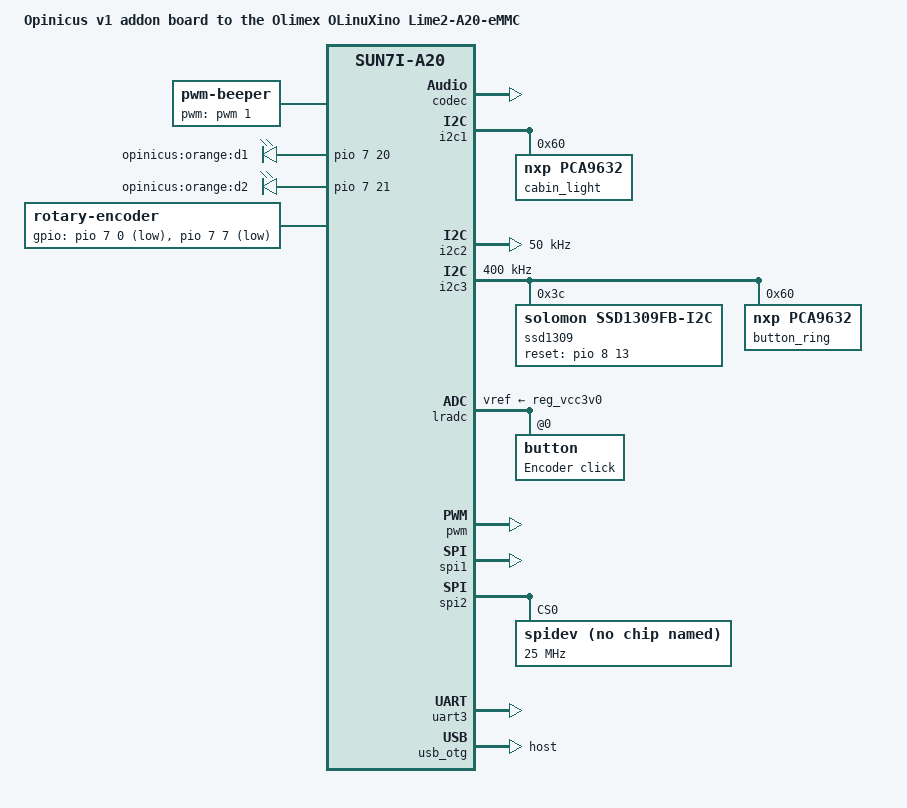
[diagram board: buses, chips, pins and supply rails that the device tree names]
/*
 * Copyright 2015 - Ultimaker B.V.
 * Author Olliver Schinagl <o.schinagl@ultimaker.com>
 *
 * This file is dual-licensed: you can use it either under the terms
 * of the GPL or the X11 license, at your option. Note that this dual
 * licensing only applies to this file, and not this project as a
 * whole.
 *
 *  a) This file is free software; you can redistribute it and/or
 *     modify it under the terms of the GNU General Public License as
 *     published by the Free Software Foundation; either version 2 of the
 *     License, or (at your option) any later version.
 *
 *     This file is distributed in the hope that it will be useful,
 *     but WITHOUT ANY WARRANTY; without even the implied warranty of
 *     MERCHANTABILITY or FITNESS FOR A PARTICULAR PURPOSE.  See the
 *     GNU General Public License for more details.
 *
 * Or, alternatively,
 *
 *  b) Permission is hereby granted, free of charge, to any person
 *     obtaining a copy of this software and associated documentation
 *     files (the "Software"), to deal in the Software without
 *     restriction, including without limitation the rights to use,
 *     copy, modify, merge, publish, distribute, sublicense, and/or
 *     sell copies of the Software, and to permit persons to whom the
 *     Software is furnished to do so, subject to the following
 *     conditions:
 *
 *     The above copyright notice and this permission notice shall be
 *     included in all copies or substantial portions of the Software.
 *
 *     THE SOFTWARE IS PROVIDED "AS IS", WITHOUT WARRANTY OF ANY KIND,
 *     EXPRESS OR IMPLIED, INCLUDING BUT NOT LIMITED TO THE WARRANTIES
 *     OF MERCHANTABILITY, FITNESS FOR A PARTICULAR PURPOSE AND
 *     NONINFRINGEMENT. IN NO EVENT SHALL THE AUTHORS OR COPYRIGHT
 *     HOLDERS BE LIABLE FOR ANY CLAIM, DAMAGES OR OTHER LIABILITY,
 *     WHETHER IN AN ACTION OF CONTRACT, TORT OR OTHERWISE, ARISING
 *     FROM, OUT OF OR IN CONNECTION WITH THE SOFTWARE OR THE USE OR
 *     OTHER DEALINGS IN THE SOFTWARE.
 */

#include "sun7i-a20-olinuxino-lime2-emmc.dts"

#include <dt-bindings/gpio/gpio.h>
#include <dt-bindings/input/input.h>
#include <dt-bindings/pinctrl/sun4i-a10.h>
#include <dt-bindings/pwm/pwm.h>

/ {
	model = "Opinicus v1 addon board to the Olimex OLinuXino Lime2-A20-eMMC";
	compatible = "ultimaker,opinicus-emmcv1", "olimex,a20-olinuxino-lime2", "allwinner,sun7i-a20";

	aliases {
		serial1 = &uart3;
	};

	beeper {
		pwm-names = "opinicus-board-beeper";
		compatible = "pwm-beeper";
		pwms = <&pwm 1 500000 0>;
		status = "okay";
	};

	leds {
		green {
			linux,default-trigger = "mmc0";
		};

		d1 {
			label = "opinicus:orange:d1";
			gpios = <&pio 7 20 GPIO_ACTIVE_HIGH>;
			default-state = "on";
		};

		d2 {
			label = "opinicus:orange:d2";
			gpios = <&pio 7 21 GPIO_ACTIVE_HIGH>;
			default-state = "on";
		};
	};

	rotary {
		pinctrl-names = "default";
		pinctrl-0 = <&rotary_pins_opinicus>;
		compatible = "rotary-encoder";
		gpios = <&pio 7 0 GPIO_ACTIVE_LOW>, <&pio 7 7 GPIO_ACTIVE_LOW>; /* todo; named gpios!! */
		linux,axis = <8>; /* REL_Z: TODO add to dt-include and possible add 'LEFT' axis */
		rotary-encoder,relative-axis;
		rotary-encoder,steps-per-period = <4>;
		status = "okay";
	};
};

&codec {
	routing =
		"Headphone Jack", "HP Left",
		"Headphone Jack", "HP Right";
	status = "okay";
};

&i2c1 {
	cabin_light: pca9632@61 {
		compatible = "nxp,pca9632";
		#address-cells = <1>;
		#size-cells = <0>;
		reg = <0x60>;
		nxp,totem-pole;
		nxp,inverted-out;
		nxp,hw-blink;

		red@0 {
			label = "red:cabin_light";
			reg = <0>;
			linux,default-trigger = "none";
		};

		green@1 {
			label = "green:cabin_light";
			reg = <1>;
			linux,default-trigger = "default-on";
		};

		blue@2 {
			label = "blue:cabin_light";
			reg = <2>;
			linux,default-trigger = "default-on";
		};

		white@3 {
			label = "white:cabin_light";
			reg = <3>;
			linux,default-trigger = "none";
		};
	};
};

&i2c2 {
	pinctrl-names = "default";
	pinctrl-0 = <&i2c2_pins_a>;
	clock-frequency = <50000>;
	status = "okay";
};

&i2c3 {
	pinctrl-names = "default";
	pinctrl-0 = <&i2c3_pins_a>;
	clock-frequency = <400000>;
	status = "okay";

	ssd1309: oled@3c {
		compatible = "solomon,ssd1309fb-i2c";
		pinctrl-names = "default";
		pinctrl-0 = <&oled_pins_opinicus>;
		reg = <0x3c>;
		reset-gpios = <&pio 8 13 GPIO_ACTIVE_HIGH>;
		solomon,width = <128>;
		solomon,height = <64>;
		solomon,com-invdir;
		solomon,page-offset = <0>;
		solomon,prechargep1 = <2>;
		solomon,prechargep2 = <8>;
	};

	button_ring: pca9632@60 {
		compatible = "nxp,pca9632";
		#address-cells = <1>;
		#size-cells = <0>;
		reg = <0x60>;
		nxp,totem-pole;
		nxp,inverted-out;
		nxp,hw-blink;

		red@0 {
			label = "red:button_ring";
			reg = <0>;
			linux,default-trigger = "none";
		};

		green@1 {
			label = "green:button_ring";
			reg = <1>;
			linux,default-trigger = "default-on";
		};

		blue@2 {
			label = "blue:button_ring";
			reg = <2>;
			linux,default-trigger = "default-on";
		};

		unused@3 {
			label = "unused:button_ring";
			reg = <3>;
			linux,default-trigger = "none";
		};
	};
};

&lradc {
	vref-supply = <&reg_vcc3v0>; /* move to lime define, maybe whole thing */
	status = "okay";

	button@0 {
		label = "Encoder click";
		linux,code = <KEY_ENTER>;
		channel = <0>;
		voltage = <0>;
	};
};

&pio {
	led_pins_opinicus: led_pins@0 {
		allwinner,pins = "PH20";
		allwinner,function = "gpio_out";
		allwinner,drive = <SUN4I_PINCTRL_20_MA>;
		allwinner,pull = <SUN4I_PINCTRL_NO_PULL>;
	};

	oled_pins_opinicus: oled_pins@0 {
		allwinner,pins = "PI13";
		allwinner,function = "gpio_out";
		allwinner,drive = <SUN4I_PINCTRL_10_MA>;
		allwinner,pull = <SUN4I_PINCTRL_PULL_DOWN>;
	};

	rotary_pins_opinicus: rotary_pins@0 {
		allwinner,pins = "PH0", "PH7";
		allwinner,function = "gpio_in";
		allwinner,drive = <SUN4I_PINCTRL_10_MA>;
		allwinner,pull = <SUN4I_PINCTRL_PULL_UP>;
	};
};

&pwm {
	pinctrl-names = "default";
	pinctrl-0 = <&pwm1_pins_a>;
	status = "okay";
};

&spi1 {
	pinctrl-names = "default";
	pinctrl-0 = <&spi1_pins_a>;
	status = "okay";
};

&spi2 {
	pinctrl-names = "default";
	pinctrl-0 = <&spi2_pins_a>;
	status = "okay";

	spidev@0 {
		compatible = "spidev";
		spi-max-frequency = <25000000>;
		reg = <0>;
	};
};

&uart3 {
	pinctrl-names = "default";
	pinctrl-0 = <&uart3_pins_a>;
	cts-override;
	status = "okay";
};

&usb_otg {
	dr_mode = "host";
};

&usbphy {
	/* Unset otg detect pins as we force dr_mode */
	/delete-property/ usb0_id_det-gpio;
	/delete-property/ usb0_vbus_det-gpio;
};
